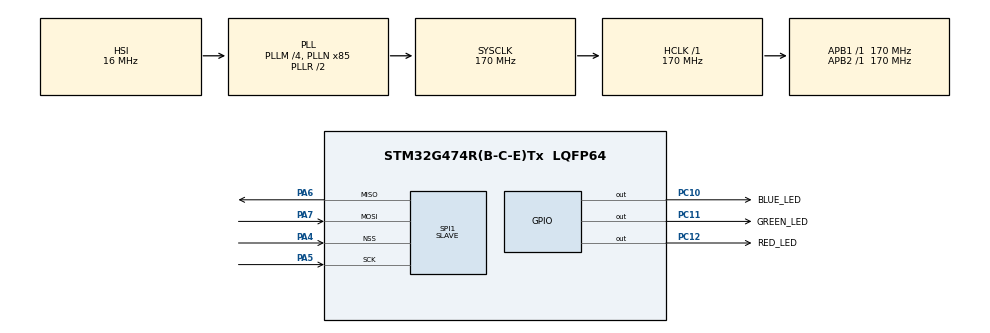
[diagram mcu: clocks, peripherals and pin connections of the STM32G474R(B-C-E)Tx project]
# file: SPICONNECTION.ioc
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Mcu.Family=STM32G4
Mcu.Name=STM32G474R(B-C-E)Tx
Mcu.Package=LQFP64
NVIC.PriorityGroup=NVIC_PRIORITYGROUP_4
NVIC.SPI1_IRQn=true\:0\:0\:false\:false\:true\:true\:true\:true
PA13.GPIO_Label=T_SWDIO
PA13.Signal=SYS_JTMS-SWDIO
PA14.GPIO_Label=T_SWCLK
PA14.Signal=SYS_JTCK-SWCLK
PA2.GPIO_Label=LPUART1_TX [STLINKV3E_VCP_RX]
PA2.Signal=LPUART1_TX
PA3.GPIO_Label=LPUART1_RX [STLINKV3E_VCP_TX]
PA3.Signal=LPUART1_RX
PA4.Mode=NSS_Signal_Hard_Input
PA4.Signal=SPI1_NSS
PA5.Mode=Full_Duplex_Slave
PA5.Signal=SPI1_SCK
PA6.Mode=Full_Duplex_Slave
PA6.Signal=SPI1_MISO
PA7.Mode=Full_Duplex_Slave
PA7.Signal=SPI1_MOSI
PB3.GPIO_Label=T_SWO
PB3.Signal=SYS_JTDO-SWO
PC10.GPIO_Label=BLUE_LED
PC10.Signal=GPIO_Output
PC11.GPIO_Label=GREEN_LED
PC11.Signal=GPIO_Output
PC12.GPIO_Label=RED_LED
PC12.Signal=GPIO_Output
PC14-OSC32_IN.GPIO_Label=RCC_OSC32_IN
PC14-OSC32_IN.Signal=RCC_OSC32_IN
PC15-OSC32_OUT.GPIO_Label=RCC_OSC32_OUT
PC15-OSC32_OUT.Signal=RCC_OSC32_OUT
PF0-OSC_IN.GPIO_Label=RCC_OSC_IN
PF0-OSC_IN.Signal=RCC_OSC_IN
PF1-OSC_OUT.GPIO_Label=RCC_OSC_OUT
PF1-OSC_OUT.Signal=RCC_OSC_OUT
ProjectManager.HeapSize=0x200
ProjectManager.StackSize=0x400
ProjectManager.TargetToolchain=STM32CubeIDE
RCC.ADC12Freq_Value=170000000
RCC.ADC345Freq_Value=170000000
RCC.AHBFreq_Value=170000000
RCC.APB1Freq_Value=170000000
RCC.APB1TimFreq_Value=170000000
RCC.APB2Freq_Value=170000000
RCC.APB2TimFreq_Value=170000000
RCC.CortexFreq_Value=170000000
RCC.EXTERNAL_CLOCK_VALUE=12288000
RCC.HCLKFreq_Value=170000000
RCC.HSE_VALUE=24000000
RCC.HSI48_VALUE=48000000
RCC.HSI_VALUE=16000000
RCC.LSE_VALUE=32768
RCC.PLLM=RCC_PLLM_DIV4
RCC.PLLN=85
RCC.RTCClockSelection=RCC_RTCCLKSOURCE_LSE
RCC.SYSCLKFreq_VALUE=170000000
RCC.SYSCLKSource=RCC_SYSCLKSOURCE_PLLCLK
RCC.USBFreq_Value=170000000
RCC.VCOOutputFreq_Value=340000000
SPI1.DataSize=SPI_DATASIZE_8BIT
SPI1.Direction=SPI_DIRECTION_2LINES
SPI1.Mode=SPI_MODE_SLAVE
SPI1.VirtualNSS=VM_NSSHARD
SPI1.VirtualType=VM_SLAVE
VP_SYS_VS_DBSignals.Mode=DisableDeadBatterySignals
board=NUCLEO-G474RE

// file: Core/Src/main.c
/* USER CODE BEGIN Header */
/**
  ******************************************************************************
  * @file           : main.c
  * @brief          : Main program body
  ******************************************************************************
  * @attention
  *
  * Copyright (c) 2026 STMicroelectronics.
  * All rights reserved.
  *
  * This software is licensed under terms that can be found in the LICENSE file
  * in the root directory of this software component.
  * If no LICENSE file comes with this software, it is provided AS-IS.
  *
  ******************************************************************************
  */
/* USER CODE END Header */
#include "main.h"

/* USER CODE BEGIN PD */
#define RECIEVE_BUFFER_SIZE 4
/* USER CODE END PD */

SPI_HandleTypeDef hspi1;
uint8_t transmitBuffer[RECIEVE_BUFFER_SIZE]= {0xFF, 0x01, 0x11, 0xFF};
uint8_t recieveBuffer[RECIEVE_BUFFER_SIZE] = {0};
volatile uint8_t currentIdx = 0;
volatile uint8_t ready = 0;
volatile uint32_t redTime=0;
volatile uint32_t greenTime=0;
volatile uint32_t blueTime=0;
uint8_t redSet = 0;
uint8_t greenSet = 0;
uint8_t blueSet = 0;

void SystemClock_Config(void);
static void MX_GPIO_Init(void);
static void MX_SPI1_Init(void);

int main(void)
{

  /* MCU Configuration--------------------------------------------------------*/

  /* Reset of all peripherals, Initializes the Flash interface and the Systick. */
  HAL_Init();

  /* Configure the system clock */
  SystemClock_Config();

  /* Initialize all configured peripherals */
  MX_GPIO_Init();
  MX_SPI1_Init();
  /* USER CODE BEGIN 2 */
  HAL_SPI_TransmitReceive_IT(&hspi1, transmitBuffer, recieveBuffer, RECIEVE_BUFFER_SIZE);

  /* USER CODE END 2 */

  /* Infinite loop */
  while (1)
  {
    /* USER CODE BEGIN 3 */
	  uint32_t currentTime = HAL_GetTick();
	  if(redSet){
		  if(currentTime > redTime){
			  HAL_GPIO_WritePin(GPIOC, RED_LED_Pin, GPIO_PIN_RESET);
			  redSet = 0;
		  }
	  } else {
		  if(currentTime < redTime){
			  HAL_GPIO_WritePin(GPIOC, RED_LED_Pin, GPIO_PIN_SET);
			  redSet = 1;
		  }
	  }

	  if(greenSet){
	  		  if(currentTime > greenTime){
	  			  HAL_GPIO_WritePin(GPIOC, GREEN_LED_Pin, GPIO_PIN_RESET);
	  			  greenSet = 0;
	  		  }
	  	  } else {
	  		  if(currentTime < greenTime){
	  			  HAL_GPIO_WritePin(GPIOC, GREEN_LED_Pin, GPIO_PIN_SET);
	  			  greenSet = 1;
	  		  }
	  	  }

	  if(blueSet){
	  		  if(currentTime > blueTime){
	  			  HAL_GPIO_WritePin(GPIOC, BLUE_LED_Pin, GPIO_PIN_RESET);
	  			  blueSet = 0;
	  		  }
	  	  } else {
	  		  if(currentTime < blueTime){
	  			  HAL_GPIO_WritePin(GPIOC, BLUE_LED_Pin, GPIO_PIN_SET);
	  			  blueSet = 1;
	  		  }
	  	  }

  }
  /* USER CODE END 3 */
}

void SystemClock_Config(void)
{
  RCC_OscInitTypeDef RCC_OscInitStruct = {0};
  RCC_ClkInitTypeDef RCC_ClkInitStruct = {0};

  /** Configure the main internal regulator output voltage
  */
  HAL_PWREx_ControlVoltageScaling(PWR_REGULATOR_VOLTAGE_SCALE1_BOOST);

  /** Initializes the RCC Oscillators according to the specified parameters
  * in the RCC_OscInitTypeDef structure.
  */
  RCC_OscInitStruct.OscillatorType = RCC_OSCILLATORTYPE_HSI;
  RCC_OscInitStruct.HSIState = RCC_HSI_ON;
  RCC_OscInitStruct.HSICalibrationValue = RCC_HSICALIBRATION_DEFAULT;
  RCC_OscInitStruct.PLL.PLLState = RCC_PLL_ON;
  RCC_OscInitStruct.PLL.PLLSource = RCC_PLLSOURCE_HSI;
  RCC_OscInitStruct.PLL.PLLM = RCC_PLLM_DIV4;
  RCC_OscInitStruct.PLL.PLLN = 85;
  RCC_OscInitStruct.PLL.PLLP = RCC_PLLP_DIV2;
  RCC_OscInitStruct.PLL.PLLQ = RCC_PLLQ_DIV2;
  RCC_OscInitStruct.PLL.PLLR = RCC_PLLR_DIV2;
  if (HAL_RCC_OscConfig(&RCC_OscInitStruct) != HAL_OK)
  {
    Error_Handler();
  }

  /** Initializes the CPU, AHB and APB buses clocks
  */
  RCC_ClkInitStruct.ClockType = RCC_CLOCKTYPE_HCLK|RCC_CLOCKTYPE_SYSCLK
                              |RCC_CLOCKTYPE_PCLK1|RCC_CLOCKTYPE_PCLK2;
  RCC_ClkInitStruct.SYSCLKSource = RCC_SYSCLKSOURCE_PLLCLK;
  RCC_ClkInitStruct.AHBCLKDivider = RCC_SYSCLK_DIV1;
  RCC_ClkInitStruct.APB1CLKDivider = RCC_HCLK_DIV1;
  RCC_ClkInitStruct.APB2CLKDivider = RCC_HCLK_DIV1;

  if (HAL_RCC_ClockConfig(&RCC_ClkInitStruct, FLASH_LATENCY_4) != HAL_OK)
  {
    Error_Handler();
  }
}

static void MX_SPI1_Init(void)
{

  /* SPI1 parameter configuration*/
  hspi1.Instance = SPI1;
  hspi1.Init.Mode = SPI_MODE_SLAVE;
  hspi1.Init.Direction = SPI_DIRECTION_2LINES;
  hspi1.Init.DataSize = SPI_DATASIZE_8BIT;
  hspi1.Init.CLKPolarity = SPI_POLARITY_LOW;
  hspi1.Init.CLKPhase = SPI_PHASE_1EDGE;
  hspi1.Init.NSS = SPI_NSS_HARD_INPUT;
  hspi1.Init.FirstBit = SPI_FIRSTBIT_MSB;
  hspi1.Init.TIMode = SPI_TIMODE_DISABLE;
  hspi1.Init.CRCCalculation = SPI_CRCCALCULATION_DISABLE;
  hspi1.Init.CRCPolynomial = 7;
  hspi1.Init.CRCLength = SPI_CRC_LENGTH_DATASIZE;
  hspi1.Init.NSSPMode = SPI_NSS_PULSE_DISABLE;
  if (HAL_SPI_Init(&hspi1) != HAL_OK)
  {
    Error_Handler();
  }

}

static void MX_GPIO_Init(void)
{
  GPIO_InitTypeDef GPIO_InitStruct = {0};

  /* GPIO Ports Clock Enable */
  __HAL_RCC_GPIOC_CLK_ENABLE();
  __HAL_RCC_GPIOF_CLK_ENABLE();
  __HAL_RCC_GPIOA_CLK_ENABLE();
  __HAL_RCC_GPIOB_CLK_ENABLE();

  /*Configure GPIO pin Output Level */
  HAL_GPIO_WritePin(GPIOC, BLUE_LED_Pin|GREEN_LED_Pin|RED_LED_Pin, GPIO_PIN_RESET);

  /*Configure GPIO pins : LPUART1_TX_Pin LPUART1_RX_Pin */
  GPIO_InitStruct.Pin = LPUART1_TX_Pin|LPUART1_RX_Pin;
  GPIO_InitStruct.Mode = GPIO_MODE_AF_PP;
  GPIO_InitStruct.Pull = GPIO_NOPULL;
  GPIO_InitStruct.Speed = GPIO_SPEED_FREQ_LOW;
  GPIO_InitStruct.Alternate = GPIO_AF12_LPUART1;
  HAL_GPIO_Init(GPIOA, &GPIO_InitStruct);

  /*Configure GPIO pins : BLUE_LED_Pin GREEN_LED_Pin RED_LED_Pin */
  GPIO_InitStruct.Pin = BLUE_LED_Pin|GREEN_LED_Pin|RED_LED_Pin;
  GPIO_InitStruct.Mode = GPIO_MODE_OUTPUT_PP;
  GPIO_InitStruct.Pull = GPIO_NOPULL;
  GPIO_InitStruct.Speed = GPIO_SPEED_FREQ_LOW;
  HAL_GPIO_Init(GPIOC, &GPIO_InitStruct);

}

/* USER CODE BEGIN 4 */

void HAL_SPI_TxRxCpltCallback(SPI_HandleTypeDef *hspi) {
	HAL_SPI_TransmitReceive_IT(&hspi1, transmitBuffer, recieveBuffer, RECIEVE_BUFFER_SIZE);
	uint32_t newTime = HAL_GetTick() + (((uint32_t)recieveBuffer[1]<<8)|recieveBuffer[2]);
	if(recieveBuffer[0]==0x10){
		redTime = newTime;
		return;
	}
	if(recieveBuffer[0]==0x11){
		greenTime = newTime;
		return;
	}
	if(recieveBuffer[0]==0x12){
		blueTime = newTime;
		return;
	}
	if(recieveBuffer[0]==0x13){
		redTime = newTime;
		greenTime = newTime;
		blueTime = newTime;
		return;
	}

}

/* USER CODE END 4 */

void Error_Handler(void)
{
  __disable_irq();
  while (1)
  {
  }
}
